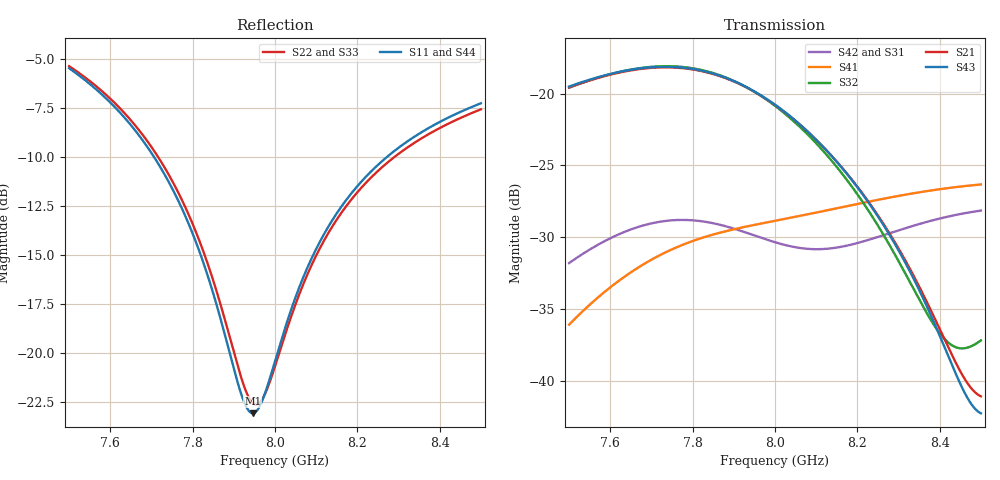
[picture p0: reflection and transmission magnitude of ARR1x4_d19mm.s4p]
! Touchstone file exported from HFSS 2025.1.0
!  File:  C:/Users/user/Documents/Ansoft/TFG_UWB-MIMO-Array.aedt
!  Generated:  05:34:58 PM Nov 20, 2026
!  Design:  ARR1x4_P01_MS2_dparam
!  Project:  TFG_UWB-MIMO-Array
!  Setup:  Setup_ch9
!  Solution:  Sweep_7p5_8p5
! Variables:
!  arr_d = 19mm
!  board_m = 13mm
!  board_x = 83mm
!  board_y = 26mm
!  cu_t = 0.035mm
!  line_w = 3.92mm
!  pad_xy = 22mm
!  pad_zn = 25mm
!  pad_zp = 33mm
!  patch_L = 7.322mm
!  patch_W = 11.421266mm
!  sub_h = 2.07mm
!  tr_l = 7.1mm
!  tr_w = 0.8mm
# GHz S MA R 50.000000
! Terminal data exported
! Port[1] = P1
! Port[2] = P2
! Port[3] = P3
! Port[4] = P4
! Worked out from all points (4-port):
!   1001 points, 7.5 GHz to 8.5 GHz, reference 50 ohm
!   strongest paths, dB at 7.5 GHz, 7.75 GHz, 8 GHz, 8.25 GHz, 8.5 GHz:
!     S43: -19.5, -18.1, -20.8, -28.5, -42.3
!     S21: -19.6, -18.2, -20.8, -28.5, -41.1
!     S32: -19.6, -18.1, -20.8, -29.2, -37.2
!     S41: -36.1, -30.8, -28.9, -27.4, -26.3
!     S42: -31.8, -28.8, -30.3, -30.0, -28.1
!     S31: -31.8, -28.9, -30.4, -30.0, -28.1
!   lowest |S11| = -23.1 dB at 7.946 GHz (marker M1), VSWR 1.15, Z = 57.1 + j2.39 ohm
!   |S11| at or under -10 dB: 7.706 GHz to 8.271 GHz (565 MHz wide, 7.07 % of centre)
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7.5  0.5336 158.1  0.1052 -46.4  0.02559 147.9  0.0157 -47.5
     0.1052 -46.4  0.54 158.6  0.1049 -45.2  0.02573 148.0
     0.02559 147.9  0.1049 -45.2  0.5384 158.5  0.1059 -46.9
     0.0157 -47.5  0.02573 148.0  0.1059 -46.9  0.5322 157.8
7.749  0.2646 119.1  0.1234 -100.2  0.03593 69.4  0.02868 -132.9
       0.1234 -100.2  0.2766 119.2  0.1246 -99.0  0.03624 69.5
       0.03593 69.4  0.1246 -99.0  0.2744 119.0  0.124 -100.8
       0.02868 -132.9  0.03624 69.5  0.124 -100.8  0.2634 118.5
7.946  0.07002 17.3  0.1023 -148.1  0.03187 -14.0  0.03484 142.4
       0.1023 -148.1  0.07438 23.9  0.1023 -147.1  0.03225 -13.6
       0.03187 -14.0  0.1023 -147.1  0.0736 22.2  0.1026 -148.9
       0.03484 142.4  0.03225 -13.6  0.1026 -148.9  0.07184 16.0
8.169  0.2426 -82.9  0.05393 164.8  0.02929 -123.6  0.04043 49.6
       0.05393 164.8  0.2339 -82.5  0.05134 168.0  0.02947 -122.7
       0.02929 -123.6  0.05134 168.0  0.2348 -82.9  0.05379 163.3
       0.04043 49.6  0.02947 -122.7  0.05379 163.3  0.2438 -82.7
8.295  0.3311 -99.9  0.02975 147.2  0.03325 -174.6  0.04394 5.6
       0.02975 147.2  0.3194 -99.8  0.02693 156.7  0.03327 -173.8
       0.03325 -174.6  0.02693 156.7  0.3198 -100.1  0.02934 144.9
       0.04394 5.6  0.03327 -173.8  0.02934 144.9  0.3317 -99.8
8.406  0.3918 -111.3  0.01453 147.1  0.037 149.9  0.04663 -28.1
       0.01453 147.1  0.378 -111.2  0.0143 172.9  0.03694 150.7
       0.037 149.9  0.0143 172.9  0.378 -111.4  0.01372 143.6
       0.04663 -28.1  0.03694 150.7  0.01372 143.6  0.3922 -111.3
8.5  0.4341 -119.7  0.00884 176.6  0.0393 124.9  0.0483 -53.4
     0.00884 176.6  0.4189 -119.4  0.01383 -157.2  0.03917 125.6
     0.0393 124.9  0.01383 -157.2  0.4187 -119.6  0.007716 177.2
     0.0483 -53.4  0.03917 125.6  0.007716 177.2  0.4343 -119.7
